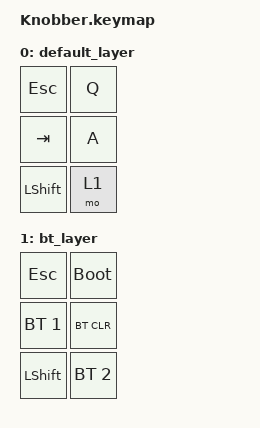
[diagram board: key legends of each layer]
#include <behaviors.dtsi>
#include <dt-bindings/zmk/keys.h>

/ {
    keymap {
        compatible = "zmk,keymap";

        default_layer {
            bindings = <
    &kp ESC    &kp Q    
    &kp TAB    &kp A    
    &kp LSHIFT &mo 1    
            >;
        };
        bt_layer {
            bindings = <
    &kp ESC              &bootloader
    &bt BT_SEL 1         &bt BT_CLR
    &kp LSHIFT           &bt BT_SEL 2
            >;
        };
    };
};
